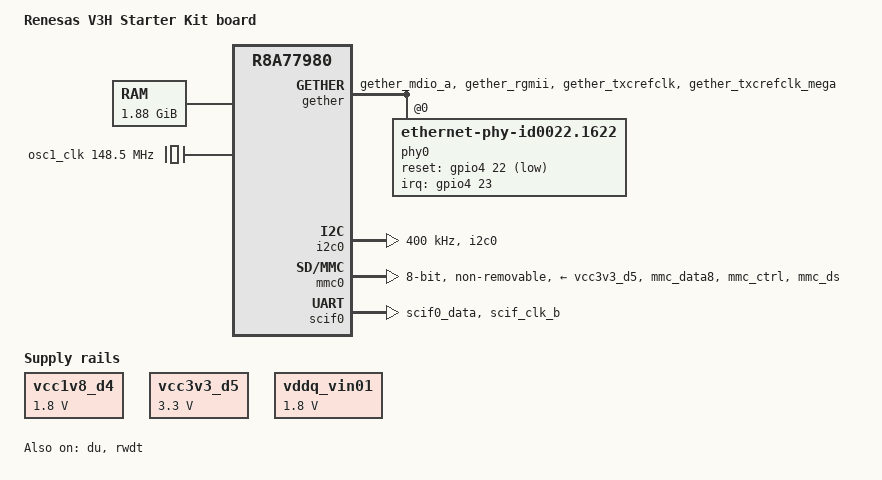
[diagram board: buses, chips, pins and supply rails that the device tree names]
// SPDX-License-Identifier: GPL-2.0
/*
 * Device Tree Source for the V3H Starter Kit board
 *
 * Copyright (C) 2019 Renesas Electronics Corp.
 * Copyright (C) 2019 Cogent Embedded, Inc.
 */

/dts-v1/;
#include "r8a77980.dtsi"
#include <dt-bindings/gpio/gpio.h>

/ {
	model = "Renesas V3H Starter Kit board";
	compatible = "renesas,v3hsk", "renesas,r8a77980";

	aliases {
		serial0 = &scif0;
		ethernet0 = &gether;
	};

	chosen {
		stdout-path = "serial0:115200n8";
	};

	memory@48000000 {
		device_type = "memory";
		/* first 128MB is reserved for secure area. */
		reg = <0 0x48000000 0 0x78000000>;
	};

	osc1_clk: osc1-clock {
		compatible = "fixed-clock";
		#clock-cells = <0>;
		clock-frequency = <148500000>;
	};

	vcc1v8_d4: regulator-0 {
		compatible = "regulator-fixed";
		regulator-name = "VCC1V8_D4";
		regulator-min-microvolt = <1800000>;
		regulator-max-microvolt = <1800000>;
		regulator-boot-on;
		regulator-always-on;
	};

	vcc3v3_d5: regulator-1 {
		compatible = "regulator-fixed";
		regulator-name = "VCC3V3_D5";
		regulator-min-microvolt = <3300000>;
		regulator-max-microvolt = <3300000>;
		regulator-boot-on;
		regulator-always-on;
	};

	vddq_vin01: regulator-2 {
		compatible = "regulator-fixed";
		regulator-name = "VDDQ_VIN01";
		regulator-min-microvolt = <1800000>;
		regulator-max-microvolt = <1800000>;
		regulator-boot-on;
		regulator-always-on;
	};
};

&du {
	clocks = <&cpg CPG_MOD 724>,
		 <&osc1_clk>;
	clock-names = "du.0", "dclkin.0";
	status = "okay";
};

&extal_clk {
	clock-frequency = <16666666>;
};

&extalr_clk {
	clock-frequency = <32768>;
};

&gether {
	pinctrl-0 = <&gether_pins>;
	pinctrl-names = "default";

	phy-mode = "rgmii";
	phy-handle = <&phy0>;
	renesas,no-ether-link;
	status = "okay";

	phy0: ethernet-phy@0 {
		compatible = "ethernet-phy-id0022.1622",
			     "ethernet-phy-ieee802.3-c22";
		rxc-skew-ps = <1500>;
		reg = <0>;
		interrupt-parent = <&gpio4>;
		interrupts = <23 IRQ_TYPE_LEVEL_LOW>;
		reset-gpios = <&gpio4 22 GPIO_ACTIVE_LOW>;
	};
};

&i2c0 {
	pinctrl-0 = <&i2c0_pins>;
	pinctrl-names = "default";

	status = "okay";
	clock-frequency = <400000>;
};

&mmc0 {
	/* used for on-board eMMC */
	pinctrl-0 = <&mmc_pins>;
	pinctrl-1 = <&mmc_pins_uhs>;
	pinctrl-names = "default", "state_uhs";

	vmmc-supply = <&vcc3v3_d5>;
	vqmmc-supply = <&vddq_vin01>;
	mmc-hs200-1_8v;
	bus-width = <8>;
	non-removable;
	status = "okay";
};

&pfc {
	gether_pins: gether {
		groups = "gether_mdio_a", "gether_rgmii",
			 "gether_txcrefclk", "gether_txcrefclk_mega";
		function = "gether";
	};

	i2c0_pins: i2c0 {
		groups = "i2c0";
		function = "i2c0";
	};

	mmc_pins: mmc {
		groups = "mmc_data8", "mmc_ctrl", "mmc_ds";
		function = "mmc";
		power-source = <1800>;
	};

	mmc_pins_uhs: mmc_uhs {
		groups = "mmc_data8", "mmc_ctrl", "mmc_ds";
		function = "mmc";
		power-source = <1800>;
	};

	scif0_pins: scif0 {
		groups = "scif0_data";
		function = "scif0";
	};

	scif_clk_pins: scif_clk {
		groups = "scif_clk_b";
		function = "scif_clk";
	};
};

&rwdt {
	timeout-sec = <60>;
	status = "okay";
};

&scif0 {
	pinctrl-0 = <&scif0_pins>, <&scif_clk_pins>;
	pinctrl-names = "default";
	status = "okay";
};

&scif_clk {
	clock-frequency = <14745600>;
};
